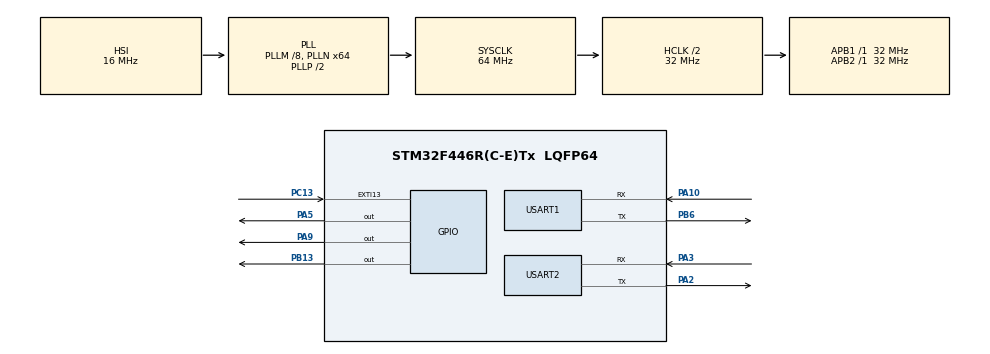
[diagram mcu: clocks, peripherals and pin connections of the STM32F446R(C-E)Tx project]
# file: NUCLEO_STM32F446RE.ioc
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Mcu.Family=STM32F4
Mcu.Name=STM32F446R(C-E)Tx
Mcu.Package=LQFP64
NVIC.PriorityGroup=NVIC_PRIORITYGROUP_4
NVIC.USART1_IRQn=true\:0\:0\:false\:false\:true\:true\:true
PA10.Mode=Asynchronous
PA10.Signal=USART1_RX
PA2.Mode=Asynchronous
PA2.Signal=USART2_TX
PA3.Mode=Asynchronous
PA3.Signal=USART2_RX
PA5.Signal=GPIO_Output
PA9.PinState=GPIO_PIN_SET
PA9.Signal=GPIO_Output
PB13.Signal=GPIO_Output
PB6.Mode=Asynchronous
PB6.Signal=USART1_TX
PC13.Signal=GPXTI13
PC14-OSC32_IN.Mode=LSE-External-Oscillator
PC14-OSC32_IN.Signal=RCC_OSC32_IN
PC15-OSC32_OUT.Mode=LSE-External-Oscillator
PC15-OSC32_OUT.Signal=RCC_OSC32_OUT
PH0-OSC_IN.Mode=HSE-External-Oscillator
PH0-OSC_IN.Signal=RCC_OSC_IN
PH1-OSC_OUT.Mode=HSE-External-Oscillator
PH1-OSC_OUT.Signal=RCC_OSC_OUT
ProjectManager.HeapSize=0x200
ProjectManager.StackSize=0x400
ProjectManager.TargetToolchain=MDK-ARM V5.27
RCC.AHBCLKDivider=RCC_SYSCLK_DIV2
RCC.AHBFreq_Value=32000000
RCC.APB1Freq_Value=32000000
RCC.APB1TimFreq_Value=32000000
RCC.APB2Freq_Value=32000000
RCC.APB2TimFreq_Value=32000000
RCC.CortexFreq_Value=32000000
RCC.HCLKFreq_Value=32000000
RCC.PLLM=8
RCC.PLLN=64
RCC.SYSCLKFreq_VALUE=64000000
RCC.SYSCLKSource=RCC_SYSCLKSOURCE_PLLCLK
RCC.USBFreq_Value=64000000
RCC.VCOOutputFreq_Value=128000000
USART1.VirtualMode=VM_ASYNC
USART2.VirtualMode=VM_ASYNC
board=custom

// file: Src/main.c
/* USER CODE BEGIN Header */
/**
  ******************************************************************************
  * @file           : main.c
  * @brief          : Main program body
  ******************************************************************************
  * @attention
  *
  * <h2><center>&copy; Copyright (c) 2020 STMicroelectronics.
  * All rights reserved.</center></h2>
  *
  * This software component is licensed by ST under BSD 3-Clause license,
  * the "License"; You may not use this file except in compliance with the
  * License. You may obtain a copy of the License at:
  *                        opensource.org/licenses/BSD-3-Clause
  *
  ******************************************************************************
  */
/* USER CODE END Header */

#include "main.h"
#include "usart.h"
#include "gpio.h"

#include "cmsis_os.h"
/* USER CODE BEGIN Includes */
//task1
   #define TASK1_STK_SIZE		256
   void task1(void *pdata);
   osThreadDef(task1, osPriorityNormal, 1, TASK1_STK_SIZE);

   //task2
   #define TASK2_STK_SIZE		256
   void task2(void *pdata);
   osThreadDef(task2, osPriorityNormal, 1, TASK2_STK_SIZE);

   void task1(void *pdata)
   {
       int count = 1;
       while(1)
       {
           printf("\r\nHello world!\r\n###This is task1 ,count is %d \r\n", count++);
           HAL_GPIO_TogglePin(GPIOA,GPIO_PIN_5);
           osDelay(2000);
       }
   }
   void task2(void *pdata)
   {
       int count = 1;
       while(1)
       {
           printf("\r\nHello TencentOS !\r\n***This is task2 ,count is %d \r\n", count++);
           osDelay(1000);
       }
   }

   int fputc(int ch, FILE *f)
   {
     if (ch == '\n')
     {
       HAL_UART_Transmit(&huart2, (void *)"\r", 1,30000);
     }
     HAL_UART_Transmit(&huart2, (uint8_t *)&ch, 1, 0xFFFF);
     return ch;
   }
/* USER CODE END Includes */

void SystemClock_Config(void);

int main(void)
{

  /* MCU Configuration--------------------------------------------------------*/

  /* Reset of all peripherals, Initializes the Flash interface and the Systick. */
  HAL_Init();

  /* Configure the system clock */
  SystemClock_Config();

  /* Initialize all configured peripherals */
  MX_GPIO_Init();
  MX_USART2_UART_Init();
  MX_USART1_UART_Init();

  osKernelInitialize(); //TOS Tiny kernel initialize
  osThreadCreate(osThread(task1), NULL);// Create task1
  osThreadCreate(osThread(task2), NULL);// Create task2
  osKernelStart();//Start TOS Tiny

  /* Infinite loop */
  while (1)
  {
			HAL_Delay(1000);

  }
}

void SystemClock_Config(void)
{
  RCC_OscInitTypeDef RCC_OscInitStruct = {0};
  RCC_ClkInitTypeDef RCC_ClkInitStruct = {0};

  /** Configure the main internal regulator output voltage
  */
  __HAL_RCC_PWR_CLK_ENABLE();
  __HAL_PWR_VOLTAGESCALING_CONFIG(PWR_REGULATOR_VOLTAGE_SCALE3);
  /** Initializes the CPU, AHB and APB busses clocks
  */
  RCC_OscInitStruct.OscillatorType = RCC_OSCILLATORTYPE_HSI;
  RCC_OscInitStruct.HSIState = RCC_HSI_ON;
  RCC_OscInitStruct.HSICalibrationValue = RCC_HSICALIBRATION_DEFAULT;
  RCC_OscInitStruct.PLL.PLLState = RCC_PLL_ON;
  RCC_OscInitStruct.PLL.PLLSource = RCC_PLLSOURCE_HSI;
  RCC_OscInitStruct.PLL.PLLM = 8;
  RCC_OscInitStruct.PLL.PLLN = 64;
  RCC_OscInitStruct.PLL.PLLP = RCC_PLLP_DIV2;
  RCC_OscInitStruct.PLL.PLLQ = 2;
  RCC_OscInitStruct.PLL.PLLR = 2;
  if (HAL_RCC_OscConfig(&RCC_OscInitStruct) != HAL_OK)
  {
    Error_Handler();
  }
  /** Initializes the CPU, AHB and APB busses clocks
  */
  RCC_ClkInitStruct.ClockType = RCC_CLOCKTYPE_HCLK|RCC_CLOCKTYPE_SYSCLK
                              |RCC_CLOCKTYPE_PCLK1|RCC_CLOCKTYPE_PCLK2;
  RCC_ClkInitStruct.SYSCLKSource = RCC_SYSCLKSOURCE_PLLCLK;
  RCC_ClkInitStruct.AHBCLKDivider = RCC_SYSCLK_DIV2;
  RCC_ClkInitStruct.APB1CLKDivider = RCC_HCLK_DIV1;
  RCC_ClkInitStruct.APB2CLKDivider = RCC_HCLK_DIV1;

  if (HAL_RCC_ClockConfig(&RCC_ClkInitStruct, FLASH_LATENCY_1) != HAL_OK)
  {
    Error_Handler();
  }
}

void Error_Handler(void)
{
}

/************************ (C) COPYRIGHT STMicroelectronics *****END OF FILE****/
